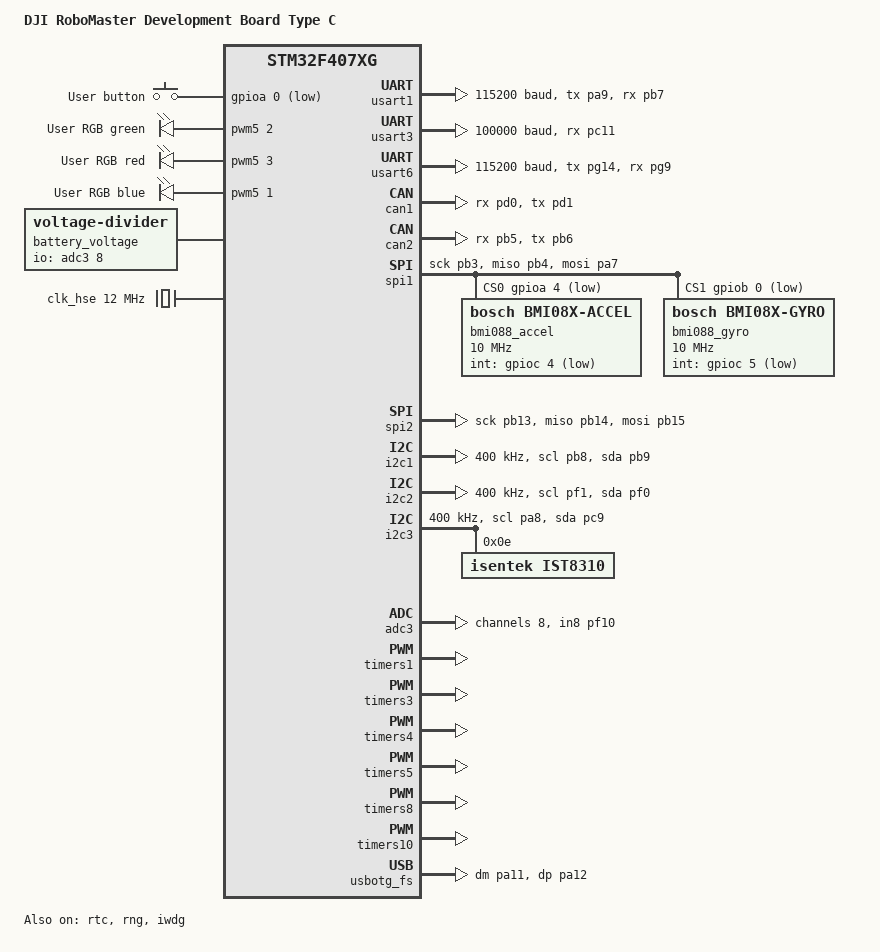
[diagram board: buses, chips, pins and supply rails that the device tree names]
/*
 * SPDX-FileCopyrightText: 2026 GMaster contributors
 * SPDX-License-Identifier: Apache-2.0
 */

/dts-v1/;
#include <st/f4/stm32f407Xg.dtsi>
#include <st/f4/stm32f407i(e-g)hx-pinctrl.dtsi>
#include <zephyr/dt-bindings/adc/adc.h>
#include <zephyr/dt-bindings/input/input-event-codes.h>
#include <zephyr/dt-bindings/pwm/pwm.h>

/ {
	model = "DJI RoboMaster Development Board Type C";
	compatible = "dji,robomaster-type-c";

	chosen {
		zephyr,sram = &sram0;
		zephyr,flash = &flash0;
		zephyr,dtcm = &ccm0;
		zephyr,canbus = &can1;
	};

	aliases {
		sw0 = &user_button;
		pwm-led0 = &green_pwm_led;
		pwm-led1 = &red_pwm_led;
		pwm-led2 = &blue_pwm_led;
		accel0 = &bmi088_accel;
		gyro0 = &bmi088_gyro;
		magn0 = &ist8310;
		volt-sensor0 = &battery_voltage;
		watchdog0 = &iwdg;
	};

	gpio_keys {
		compatible = "gpio-keys";

		user_button: button {
			label = "User button";
			gpios = <&gpioa 0 (GPIO_ACTIVE_LOW | GPIO_PULL_UP)>;
			zephyr,code = <INPUT_KEY_0>;
		};
	};

	pwm_leds {
		compatible = "pwm-leds";

		green_pwm_led: green_pwm_led {
			label = "User RGB green";
			pwms = <&pwm5 2 PWM_USEC(1000) PWM_POLARITY_NORMAL>;
		};

		red_pwm_led: red_pwm_led {
			label = "User RGB red";
			pwms = <&pwm5 3 PWM_USEC(1000) PWM_POLARITY_NORMAL>;
		};

		blue_pwm_led: blue_pwm_led {
			label = "User RGB blue";
			pwms = <&pwm5 1 PWM_USEC(1000) PWM_POLARITY_NORMAL>;
		};
	};

	battery_voltage: battery_voltage {
		compatible = "voltage-divider";
		io-channels = <&adc3 8>;
		output-ohms = <22000>;
		full-ohms = <222000>;
	};
};

&clk_lsi {
	status = "okay";
};

&clk_hse {
	clock-frequency = <DT_FREQ_M(12)>;
	status = "okay";
};

&pll {
	div-m = <6>;
	mul-n = <168>;
	div-p = <2>;
	div-q = <7>;
	clocks = <&clk_hse>;
	status = "okay";
};

&rcc {
	clocks = <&pll>;
	clock-frequency = <DT_FREQ_M(168)>;
	ahb-prescaler = <1>;
	apb1-prescaler = <4>;
	apb2-prescaler = <2>;
};

&rtc {
	clocks = <&rcc STM32_CLOCK(APB1, 28)>,
		 <&rcc STM32_SRC_LSI RTC_SEL(2)>;
	status = "okay";

	backup_regs {
		status = "okay";
	};
};

&rng {
	status = "okay";
};

&iwdg {
	status = "okay";
};

&usart1 {
	pinctrl-0 = <&usart1_tx_pa9 &usart1_rx_pb7>;
	pinctrl-names = "default";
	current-speed = <115200>;
	status = "okay";
};

&usart3 {
	pinctrl-0 = <&usart3_rx_pc11>;
	pinctrl-names = "default";
	current-speed = <100000>;
	parity = "even";
	stop-bits = "1";
	data-bits = <8>;
	status = "okay";
};

&usart6 {
	pinctrl-0 = <&usart6_tx_pg14 &usart6_rx_pg9>;
	pinctrl-names = "default";
	current-speed = <115200>;
	status = "okay";
};

&can1 {
	pinctrl-0 = <&can1_rx_pd0 &can1_tx_pd1>;
	pinctrl-names = "default";
	status = "okay";

	can-transceiver {
		max-bitrate = <1000000>;
	};
};

&can2 {
	pinctrl-0 = <&can2_rx_pb5 &can2_tx_pb6>;
	pinctrl-names = "default";
	status = "okay";

	can-transceiver {
		max-bitrate = <1000000>;
	};
};

&spi1 {
	pinctrl-0 = <&spi1_sck_pb3 &spi1_miso_pb4 &spi1_mosi_pa7>;
	pinctrl-names = "default";
	cs-gpios = <&gpioa 4 GPIO_ACTIVE_LOW>,
		   <&gpiob 0 GPIO_ACTIVE_LOW>;
	status = "okay";

	bmi088_accel: bmi088_accel@0 {
		compatible = "bosch,bmi08x-accel";
		reg = <0>;
		spi-max-frequency = <DT_FREQ_M(10)>;
		spi-cpol;
		spi-cpha;
		int-gpios = <&gpioc 4 (GPIO_ACTIVE_LOW | GPIO_PULL_UP)>;
		int1-map-io = <0x01>;
		int2-map-io = <0x00>;
		int1-conf-io = <0x08>;
		int2-conf-io = <0x00>;
		accel-hz = "800";
		accel-fs = <3>;
	};

	bmi088_gyro: bmi088_gyro@1 {
		compatible = "bosch,bmi08x-gyro";
		reg = <1>;
		spi-max-frequency = <DT_FREQ_M(10)>;
		spi-cpol;
		spi-cpha;
		int-gpios = <&gpioc 5 (GPIO_ACTIVE_LOW | GPIO_PULL_UP)>;
		int3-4-map-io = <0x01>;
		int3-4-conf-io = <0x00>;
		gyro-hz = "1000_116";
		gyro-fs = <2000>;
	};
};

&spi2 {
	pinctrl-0 = <&spi2_sck_pb13 &spi2_miso_pb14 &spi2_mosi_pb15>;
	pinctrl-names = "default";
	cs-gpios = <&gpiob 12 GPIO_ACTIVE_LOW>;
	status = "okay";
};

&i2c1 {
	pinctrl-0 = <&i2c1_scl_pb8 &i2c1_sda_pb9>;
	pinctrl-names = "default";
	clock-frequency = <I2C_BITRATE_FAST>;
	status = "okay";
};

&i2c2 {
	pinctrl-0 = <&i2c2_scl_pf1 &i2c2_sda_pf0>;
	pinctrl-names = "default";
	clock-frequency = <I2C_BITRATE_FAST>;
	status = "okay";
};

&i2c3 {
	pinctrl-0 = <&i2c3_scl_pa8 &i2c3_sda_pc9>;
	pinctrl-names = "default";
	clock-frequency = <I2C_BITRATE_FAST>;
	status = "okay";

	ist8310: magnetometer@e {
		compatible = "isentek,ist8310";
		reg = <0x0e>;
	};
};

&adc3 {
	#address-cells = <1>;
	#size-cells = <0>;
	pinctrl-0 = <&adc3_in8_pf10>;
	pinctrl-names = "default";
	st,adc-prescaler = <6>;
	status = "okay";

	channel@8 {
		reg = <8>;
		zephyr,gain = "ADC_GAIN_1";
		zephyr,reference = "ADC_REF_INTERNAL";
		zephyr,vref-mv = <3300>;
		zephyr,acquisition-time = <ADC_ACQ_TIME_DEFAULT>;
		zephyr,resolution = <12>;
	};
};

&timers1 {
	status = "okay";

	pwm1: pwm {
		pinctrl-0 = <&tim1_ch1_pe9 &tim1_ch2_pe11
			     &tim1_ch3_pe13 &tim1_ch4_pe14>;
		pinctrl-names = "default";
		status = "okay";
	};
};

&timers3 {
	status = "okay";

	pwm3: pwm {
		pinctrl-0 = <&tim3_ch3_pc8>;
		pinctrl-names = "default";
		status = "okay";
	};
};

&timers4 {
	status = "okay";

	pwm4: pwm {
		pinctrl-0 = <&tim4_ch3_pd14>;
		pinctrl-names = "default";
		status = "okay";
	};
};

&timers5 {
	status = "okay";

	pwm5: pwm {
		pinctrl-0 = <&tim5_ch1_ph10 &tim5_ch2_ph11 &tim5_ch3_ph12>;
		pinctrl-names = "default";
		status = "okay";
	};
};

&timers8 {
	status = "okay";

	pwm8: pwm {
		pinctrl-0 = <&tim8_ch1_pc6 &tim8_ch2_pi6 &tim8_ch3_pi7>;
		pinctrl-names = "default";
		status = "okay";
	};
};

&timers10 {
	status = "okay";

	pwm10: pwm {
		pinctrl-0 = <&tim10_ch1_pf6>;
		pinctrl-names = "default";
		status = "okay";
	};
};

zephyr_udc0: &usbotg_fs {
	pinctrl-0 = <&usb_otg_fs_dm_pa11 &usb_otg_fs_dp_pa12>;
	pinctrl-names = "default";
	status = "okay";
};

#include <../boards/common/usb/cdc_acm_serial.dtsi>
